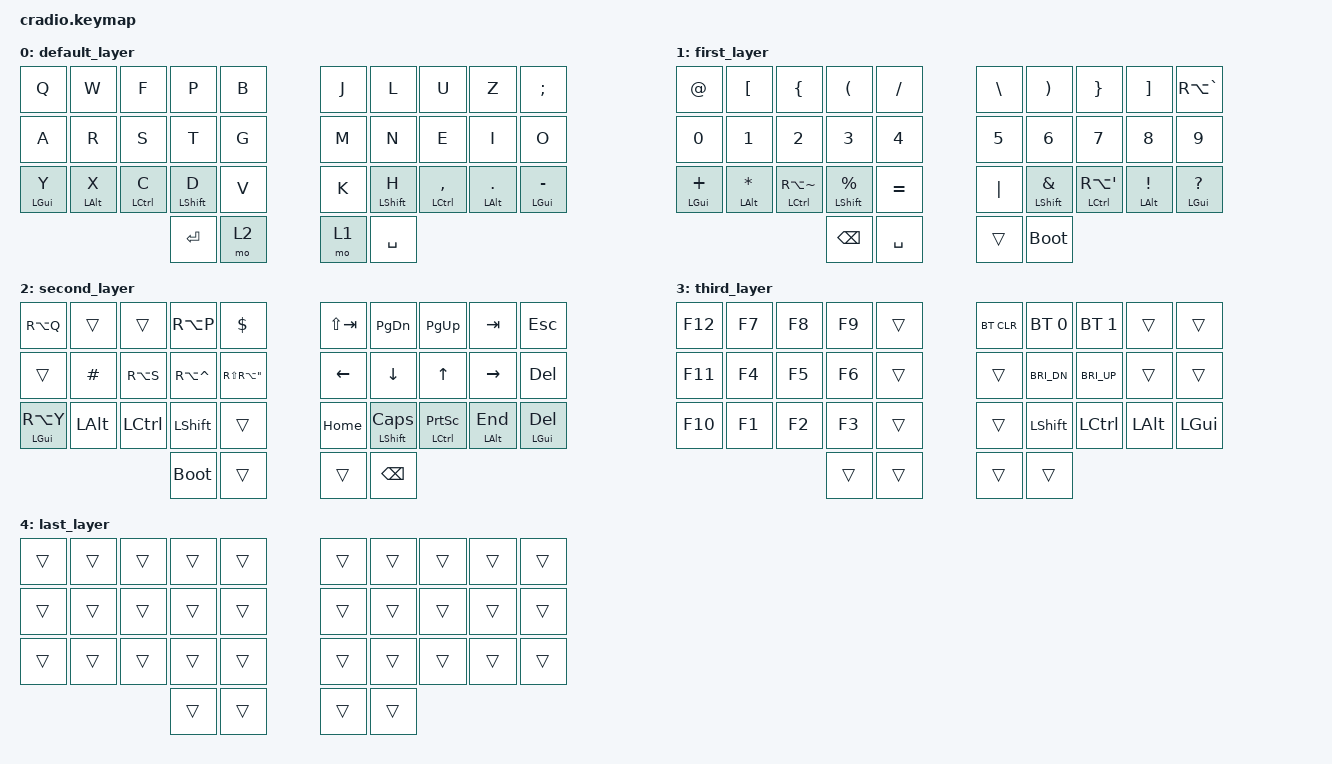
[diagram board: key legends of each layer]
// Copyright (c) 2022 The ZMK Contributors
// SPDX-License-Identifier: MIT

#include <behaviors.dtsi>
#include <dt-bindings/zmk/keys.h>
#include <dt-bindings/zmk/bt.h>

/ {
    behaviors {
        ht: hold_tap {
            label = "hold_tap";
            compatible = "zmk,behavior-hold-tap";
            #binding-cells = <2>;
            flavor = "tap-preferred";
            tapping-term-ms = <200>;
            quick-tap-ms = <200>;
            global-quick-tap;
            bindings = <&kp>, <&kp>;
        };

       td_shift: tap_dance_0 {
           compatible = "zmk,behavior-tap-dance";
           label = "TAP_DANCE_0";
           #binding-cells = <0>;
           tapping-term-ms = <200>;
           bindings = <&kp LSHFT>, <&kp CAPS>;

       };
       td_apos: tap_dance_1 {
           compatible = "zmk,behavior-tap-dance";
           label = "TAP_DANCE_1";
           #binding-cells = <0>;
           tapping-term-ms = <200>;
           bindings = <&kp RA(APOS)>, <&kp RS(RA(DQT))>;

       };
    };

    macros {
        sp_dqt: sp_dqt {
            label = "double quotes";
            compatible = "zmk,behavior-macro";
            #binding-cells = <0>;
            wait-ms = <40>;
            tap-ms = <40>;
            bindings = <&kp DQT>, <&kp SPACE>;
        };
        sp_apos: sp_apos {
            label = "apos with space";
            compatible = "zmk,behavior-macro";
            #binding-cells = <0>;
            wait-ms = <40>;
            tap-ms = <40>;
            bindings = <&kp APOS>, <&kp SPACE>;
        };
        sp_grave: sp_grave {
            label = "gave with space";
            compatible = "zmk,behavior-macro";
            #binding-cells = <0>;
            wait-ms = <40>;
            tap-ms = <40>;
            bindings = <&kp GRAVE>, <&kp SPACE>;
        };
        sp_caret: sp_caret {
            label = "caret with space";
            compatible = "zmk,behavior-macro";
            #binding-cells = <0>;
            wait-ms = <40>;
            tap-ms = <40>;
            bindings = <&kp CARET>, <&kp SPACE>;
        };
    };



    combos {
            compatible = "zmk,combos";
            combo_layer4 {
                timeout-ms = <50>;
                key-positions = <31 32>;
                bindings = <&mo 3>;
            };
        };

    keymap {
        compatible = "zmk,keymap";
        default_layer {
            bindings = <
        //╭──────────┬──────────┬──────────┬──────────┬──────────╮   ╭──────────┬──────────┬──────────┬──────────┬──────────╮
        //│  Q       │  W       │  F       │  P       │  B       │   │  J       │  L       │  U       │  Z       │          │
            &kp Q      &kp W        &kp F   &kp P      &kp B          &kp J         &kp L       &kp U    &kp Z    &kp SEMI
        //├──────────┼──────────┼──────────┼──────────┼──────────┤   ├──────────┼──────────┼──────────┼──────────┼──────────┤
        //│  A       │  R       │  S       │  T       │  G       │   │  M       │  N       │  E       │  I       │ O        │
            &kp A      &kp R        &kp S       &kp T   &kp G          &kp M      &kp N         &kp E     &kp I     &kp O
        //├──────────┼──────────┼──────────┼──────────┼──────────┤   ├──────────┼──────────┼──────────┼──────────┼──────────┤
        //│  Y       │  X       │  C       │  D       │  V       │   │  K       │  H       │          │          │          │
            &ht LGUI Y &ht LALT X &ht LCTRL C &ht LSHFT D  &kp V        &kp K      &ht LSHFT H   &ht LCTRL COMMA   &ht LALT DOT  &ht LGUI MINUS
        //╰──────────┴──────────┴──────────┼──────────┼──────────┤   ├──────────┼──────────┼──────────┴──────────┴──────────╯
                                             &kp ENTER  &mo 2             &mo 1  &kp SPACE
        //                                 ╰──────────┴──────────╯   ╰──────────┴──────────╯
            >;
        };

        first_layer {
            bindings = <
            //╭──────────┬──────────┬──────────┬──────────┬──────────╮   ╭──────────┬──────────┬──────────┬──────────┬──────────╮
            //│          │          │          │          │          │   │          │          │          │          │          │
            &kp AT     &kp LBKT &kp LBRC &kp LPAR       &kp FSLH       &kp BSLH  &kp RPAR  &kp RBRC  &kp RBKT  &kp RA(GRAVE)
            //├──────────┼──────────┼──────────┼──────────┼──────────┤   ├──────────┼──────────┼──────────┼──────────┼──────────┤
            //│          │          │          │          │          │   │          │          │          │          │
            &kp N0     &kp N1    &kp N2     &kp N3    &kp N4             &kp N5    &kp N6     &kp N7     &kp N8      &kp N9
            //├──────────┼──────────┼──────────┼──────────┼──────────┤   ├──────────┼──────────┼──────────┼──────────┼──────────┤
&ht LGUI PLUS &ht LALT STAR &ht LCTRL RA(TILDE) &ht LSHFT PRCNT  &kp EQUAL  &kp PIPE  &ht LSHFT AMPS &ht LCTRL RA(APOS)  &ht LALT EXCL  &ht LGUI QMARK
            //╰──────────┴──────────┴──────────┼──────────┼──────────┤   ├──────────┼──────────┼──────────┴──────────┴──────────╯
                                                &kp BSPC     &kp SPACE      &trans     &bootloader
            //                                 ╰──────────┴──────────╯   ╰──────────┴──────────╯
            >;
        };

        second_layer {
            bindings = <
            //╭──────────┬──────────┬──────────┬──────────┬──────────╮   ╭──────────┬──────────┬──────────┬──────────┬──────────╮
            //│          │          │          │          │          │   │          │          │          │          │          │
            &kp RA(Q)     &trans    &trans      &kp RA(P)  &kp DLLR        &kp LS(TAB) &kp PAGE_DOWN &kp PAGE_UP &kp TAB &kp ESC
            //├──────────┼──────────┼──────────┼──────────┼──────────┤   ├──────────┼──────────┼──────────┼──────────┼──────────┤
            //│          │          │          │          │          │   │          │          │          │          │
              &trans    &kp HASH     &kp RA(S) &kp RA(CARET) &kp RS(RA(DQT))  &kp LEFT    &kp DOWN    &kp UP    &kp RIGHT  &kp DEL
            //├──────────┼──────────┼──────────┼──────────┼──────────┤   ├──────────┼──────────┼──────────┼──────────┼──────────┤
            //│          │          │          │          │          │   │          │          │          │          │          │
                &ht LGUI RA(Y)  &kp LALT    &kp LCTRL   &kp LSHFT  &trans   &kp HOME &ht LSHFT CAPS &ht LCTRL PSCRN &ht LALT END  &ht LGUI DEL
            //╰──────────┴──────────┴──────────┼──────────┼──────────┤   ├──────────┼──────────┼──────────┴──────────┴──────────╯
                                                &bootloader   &trans      &trans     &kp BSPC
            //                                 ╰──────────┴──────────╯   ╰──────────┴──────────╯
            >;
        };


        third_layer {
            bindings = <
        //╭──────────┬──────────┬──────────┬──────────┬──────────╮   ╭──────────┬──────────┬──────────┬──────────┬──────────╮
        //│          │          │          │          │          │   │          │          │          │          │          │
            &kp F12     &kp F7    &kp F8     &kp F9    &trans       &bt BT_CLR &bt BT_SEL 0  &bt BT_SEL 1     &trans     &trans
        //├──────────┼──────────┼──────────┼──────────┼──────────┤   ├──────────┼──────────┼──────────┼──────────┼──────────┤
        //│          │          │          │          │          │   │          │          │          │          │
            &kp F11  &kp F4     &kp F5     &kp F6     &trans         &trans     &kp C_BRI_DN  &kp C_BRI_UP     &trans     &trans
        //├──────────┼──────────┼──────────┼──────────┼──────────┤   ├──────────┼──────────┼──────────┼──────────┼──────────┤
        //│          │          │          │          │          │   │          │          │          │          │          │
            &kp F10     &kp F1    &kp F2     &kp F3    &trans        &trans      &kp LSHFT   &kp LCTRL  &kp LALT  &kp LGUI
        //╰──────────┴──────────┴──────────┼──────────┼──────────┤   ├──────────┼──────────┼──────────┴──────────┴──────────╯
                                             &trans     &trans      &trans     &trans
        //                                 ╰──────────┴──────────╯   ╰──────────┴──────────╯
            >;
        };

        last_layer {
            bindings = <
            //╭──────────┬──────────┬──────────┬──────────┬──────────╮   ╭──────────┬──────────┬──────────┬──────────┬──────────╮
            //│          │          │          │          │          │   │          │          │          │          │          │
            &trans     &trans     &trans     &trans    &trans          &trans     &trans     &trans     &trans     &trans
            //├──────────┼──────────┼──────────┼──────────┼──────────┤   ├──────────┼──────────┼──────────┼──────────┼──────────┤
            //│          │          │          │          │          │   │          │          │          │          │
            &trans     &trans     &trans     &trans    &trans          &trans     &trans     &trans     &trans     &trans
            //├──────────┼──────────┼──────────┼──────────┼──────────┤   ├──────────┼──────────┼──────────┼──────────┼──────────┤
            //│          │          │          │          │          │   │          │          │          │          │          │
            &trans     &trans     &trans     &trans    &trans          &trans     &trans     &trans     &trans     &trans
            //╰──────────┴──────────┴──────────┼──────────┼──────────┤   ├──────────┼──────────┼──────────┴──────────┴──────────╯
                                                &trans     &trans         &trans     &trans
            //                                 ╰──────────┴──────────╯   ╰──────────┴──────────╯
            >;
        };
    };
};
